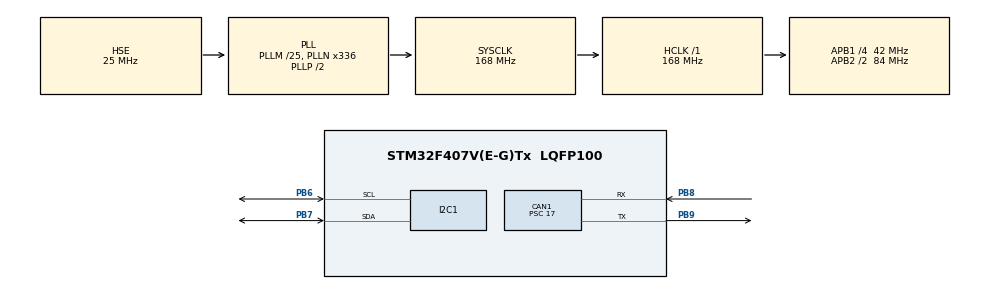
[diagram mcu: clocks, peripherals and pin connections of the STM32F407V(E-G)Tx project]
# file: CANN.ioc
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CAN1.BS1=CAN_BS1_2TQ
CAN1.BS2=CAN_BS2_2TQ
CAN1.CalculateBaudRate=494117
CAN1.CalculateTimeBit=2023
CAN1.CalculateTimeQuantum=404.76190476190476
CAN1.Mode=CAN_MODE_NORMAL
CAN1.Prescaler=17
Mcu.Family=STM32F4
Mcu.Name=STM32F407V(E-G)Tx
Mcu.Package=LQFP100
NVIC.CAN1_RX0_IRQn=true\:0\:0\:false\:false\:true\:true\:true\:true
NVIC.PriorityGroup=NVIC_PRIORITYGROUP_4
PA13.Mode=Serial_Wire
PA13.Signal=SYS_JTMS-SWDIO
PA14.Mode=Serial_Wire
PA14.Signal=SYS_JTCK-SWCLK
PB6.Mode=I2C
PB6.Signal=I2C1_SCL
PB7.Mode=I2C
PB7.Signal=I2C1_SDA
PB8.Mode=CAN_Activate
PB8.Signal=CAN1_RX
PB9.Mode=CAN_Activate
PB9.Signal=CAN1_TX
PH0-OSC_IN.Mode=HSE-External-Oscillator
PH0-OSC_IN.Signal=RCC_OSC_IN
PH1-OSC_OUT.Mode=HSE-External-Oscillator
PH1-OSC_OUT.Signal=RCC_OSC_OUT
ProjectManager.HeapSize=0x200
ProjectManager.StackSize=0x400
ProjectManager.TargetToolchain=STM32CubeIDE
RCC.48MHZClocksFreq_Value=84000000
RCC.AHBFreq_Value=168000000
RCC.APB1CLKDivider=RCC_HCLK_DIV4
RCC.APB1Freq_Value=42000000
RCC.APB1TimFreq_Value=84000000
RCC.APB2CLKDivider=RCC_HCLK_DIV2
RCC.APB2Freq_Value=84000000
RCC.APB2TimFreq_Value=168000000
RCC.CortexFreq_Value=168000000
RCC.HCLKFreq_Value=168000000
RCC.HSE_VALUE=25000000
RCC.HSI_VALUE=16000000
RCC.LSE_VALUE=32768
RCC.PLLM=25
RCC.PLLN=336
RCC.PLLSourceVirtual=RCC_PLLSOURCE_HSE
RCC.SYSCLKFreq_VALUE=168000000
RCC.SYSCLKSource=RCC_SYSCLKSOURCE_PLLCLK
RCC.VCOOutputFreq_Value=336000000
board=custom

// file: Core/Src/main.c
/* USER CODE BEGIN Header */
/**
  ******************************************************************************
  * @file           : main.c
  * @brief          : Main program body
  ******************************************************************************
  * @attention
  *
  * Copyright (c) 2024 STMicroelectronics.
  * All rights reserved.
  *
  * This software is licensed under terms that can be found in the LICENSE file
  * in the root directory of this software component.
  * If no LICENSE file comes with this software, it is provided AS-IS.
  *
  ******************************************************************************
  */
/* USER CODE END Header */
#include "main.h"

/* USER CODE BEGIN Includes */
#include "liquidcrystal_i2c.h"
#include "stdio.h"
#include "string.h"
/* USER CODE END Includes */

CAN_HandleTypeDef hcan1;

I2C_HandleTypeDef hi2c1;

/* USER CODE BEGIN PV */
CAN_RxHeaderTypeDef RxHeader;
CAN_FilterTypeDef canfilterconfig;
uint8_t RxData[2];
/* USER CODE END PV */

void SystemClock_Config(void);
static void MX_GPIO_Init(void);
static void MX_I2C1_Init(void);
static void MX_CAN1_Init(void);

char strCopy[15];
int main(void)
{

  /* MCU Configuration--------------------------------------------------------*/

  /* Reset of all peripherals, Initializes the Flash interface and the Systick. */
  HAL_Init();

  /* Configure the system clock */
  SystemClock_Config();

  /* Initialize all configured peripherals */
  MX_GPIO_Init();
  MX_I2C1_Init();
  MX_CAN1_Init();
  /* USER CODE BEGIN 2 */
  HD44780_Init(2);
  HD44780_Clear();

  if (HAL_CAN_Start(&hcan1) != HAL_OK)
   {
     Error_Handler();
	 HD44780_SetCursor(6,0);
	 HD44780_PrintStr("S");
   }
  canfilterconfig.FilterActivation = CAN_FILTER_ENABLE;
  canfilterconfig.FilterBank = 0;  // Utilisation du filtre 0
  canfilterconfig.FilterFIFOAssignment = CAN_FILTER_FIFO0;
  canfilterconfig.FilterIdHigh = 0x321 << 5; // Configure l'ID élevé de 5 bits pour les ID standard (11 bits)
  canfilterconfig.FilterIdLow = 0; // Les bits de poids faibles de l'ID ne sont pas utilisés dans ce cas.
  canfilterconfig.FilterMaskIdHigh = 0xFFF << 5; // Configure le masque pour filtrer tous les ID possibles.
  canfilterconfig.FilterMaskIdLow = 0; // Les bits de poids faibles du masque ne sont pas utilisés dans ce cas.
  canfilterconfig.FilterMode = CAN_FILTERMODE_IDMASK; // Mode de filtrage avec masque
  canfilterconfig.FilterScale = CAN_FILTERSCALE_16BIT; // Échelle du filtre sur 16 bits
  canfilterconfig.SlaveStartFilterBank = 14;  // Définit le numéro de filtre à partir duquel commencer à utiliser les filtres pour CAN1

   HAL_CAN_ConfigFilter(&hcan1, &canfilterconfig);
  /* USER CODE END 2 */

  /* Infinite loop */
    while (1)
    {
    	HD44780_SetCursor(0,0);
    	HD44780_PrintStr("Temp=");
    	if (HAL_CAN_GetRxFifoFillLevel(&hcan1, CAN_RX_FIFO0) > 0){
    	 if (HAL_CAN_GetRxMessage(&hcan1, CAN_RX_FIFO0, &RxHeader, RxData) != HAL_OK)
    	  {
    		if (RxHeader.StdId == 0x321) {
    	      float receivedTemp=RxData[0] + (float)RxData[1] / 10.0;//traitement de message recu
    	      sprintf(strCopy, "%.2f C", receivedTemp); // Formater la température en une chaîne de caractères
    	      HD44780_SetCursor(6,0);
    	      HD44780_PrintStr(strCopy);
    	    }
        	 else{
       	      HD44780_SetCursor(6,0);
       	      HD44780_PrintStr("noRx");
        	 }
    	    }
    	 else{
   	      HD44780_SetCursor(6,0);
   	      HD44780_PrintStr("noget");
    	 }
    }
    	 else{
    	    	      HD44780_SetCursor(6,0);
    	    	      HD44780_PrintStr("nofifo");
    	     	 }
    	 HAL_Delay(200);

  /* USER CODE END 3 */
}
//on garantit une référence commune pour tous les signaux CAN, ce qui peut aider à assurer une intégrité de signal adéquate.
void SystemClock_Config(void)
{
  RCC_OscInitTypeDef RCC_OscInitStruct = {0};
  RCC_ClkInitTypeDef RCC_ClkInitStruct = {0};

  /** Configure the main internal regulator output voltage
  */
  __HAL_RCC_PWR_CLK_ENABLE();
  __HAL_PWR_VOLTAGESCALING_CONFIG(PWR_REGULATOR_VOLTAGE_SCALE1);

  /** Initializes the RCC Oscillators according to the specified parameters
  * in the RCC_OscInitTypeDef structure.
  */
  RCC_OscInitStruct.OscillatorType = RCC_OSCILLATORTYPE_HSE;
  RCC_OscInitStruct.HSEState = RCC_HSE_ON;
  RCC_OscInitStruct.PLL.PLLState = RCC_PLL_ON;
  RCC_OscInitStruct.PLL.PLLSource = RCC_PLLSOURCE_HSE;
  RCC_OscInitStruct.PLL.PLLM = 25;
  RCC_OscInitStruct.PLL.PLLN = 336;
  RCC_OscInitStruct.PLL.PLLP = RCC_PLLP_DIV2;
  RCC_OscInitStruct.PLL.PLLQ = 4;
  if (HAL_RCC_OscConfig(&RCC_OscInitStruct) != HAL_OK)
  {
    Error_Handler();
  }

  /** Initializes the CPU, AHB and APB buses clocks
  */
  RCC_ClkInitStruct.ClockType = RCC_CLOCKTYPE_HCLK|RCC_CLOCKTYPE_SYSCLK
                              |RCC_CLOCKTYPE_PCLK1|RCC_CLOCKTYPE_PCLK2;
  RCC_ClkInitStruct.SYSCLKSource = RCC_SYSCLKSOURCE_PLLCLK;
  RCC_ClkInitStruct.AHBCLKDivider = RCC_SYSCLK_DIV1;
  RCC_ClkInitStruct.APB1CLKDivider = RCC_HCLK_DIV4;
  RCC_ClkInitStruct.APB2CLKDivider = RCC_HCLK_DIV2;

  if (HAL_RCC_ClockConfig(&RCC_ClkInitStruct, FLASH_LATENCY_5) != HAL_OK)
  {
    Error_Handler();
  }
}

static void MX_CAN1_Init(void)
{

  hcan1.Instance = CAN1;
  hcan1.Init.Prescaler = 17;
  hcan1.Init.Mode = CAN_MODE_NORMAL;
  hcan1.Init.SyncJumpWidth = CAN_SJW_1TQ;
  hcan1.Init.TimeSeg1 = CAN_BS1_2TQ;
  hcan1.Init.TimeSeg2 = CAN_BS2_2TQ;
  hcan1.Init.TimeTriggeredMode = DISABLE;
  hcan1.Init.AutoBusOff = DISABLE;
  hcan1.Init.AutoWakeUp = DISABLE;
  hcan1.Init.AutoRetransmission = DISABLE;
  hcan1.Init.ReceiveFifoLocked = DISABLE;
  hcan1.Init.TransmitFifoPriority = DISABLE;
  if (HAL_CAN_Init(&hcan1) != HAL_OK)
  {
    Error_Handler();
  }

}

static void MX_I2C1_Init(void)
{

  hi2c1.Instance = I2C1;
  hi2c1.Init.ClockSpeed = 100000;
  hi2c1.Init.DutyCycle = I2C_DUTYCYCLE_2;
  hi2c1.Init.OwnAddress1 = 0;
  hi2c1.Init.AddressingMode = I2C_ADDRESSINGMODE_7BIT;
  hi2c1.Init.DualAddressMode = I2C_DUALADDRESS_DISABLE;
  hi2c1.Init.OwnAddress2 = 0;
  hi2c1.Init.GeneralCallMode = I2C_GENERALCALL_DISABLE;
  hi2c1.Init.NoStretchMode = I2C_NOSTRETCH_DISABLE;
  if (HAL_I2C_Init(&hi2c1) != HAL_OK)
  {
    Error_Handler();
  }

}

static void MX_GPIO_Init(void)
{

  /* GPIO Ports Clock Enable */
  __HAL_RCC_GPIOH_CLK_ENABLE();
  __HAL_RCC_GPIOA_CLK_ENABLE();
  __HAL_RCC_GPIOB_CLK_ENABLE();

}

void Error_Handler(void)
{
  __disable_irq();
  while (1)
  {
  }
}
